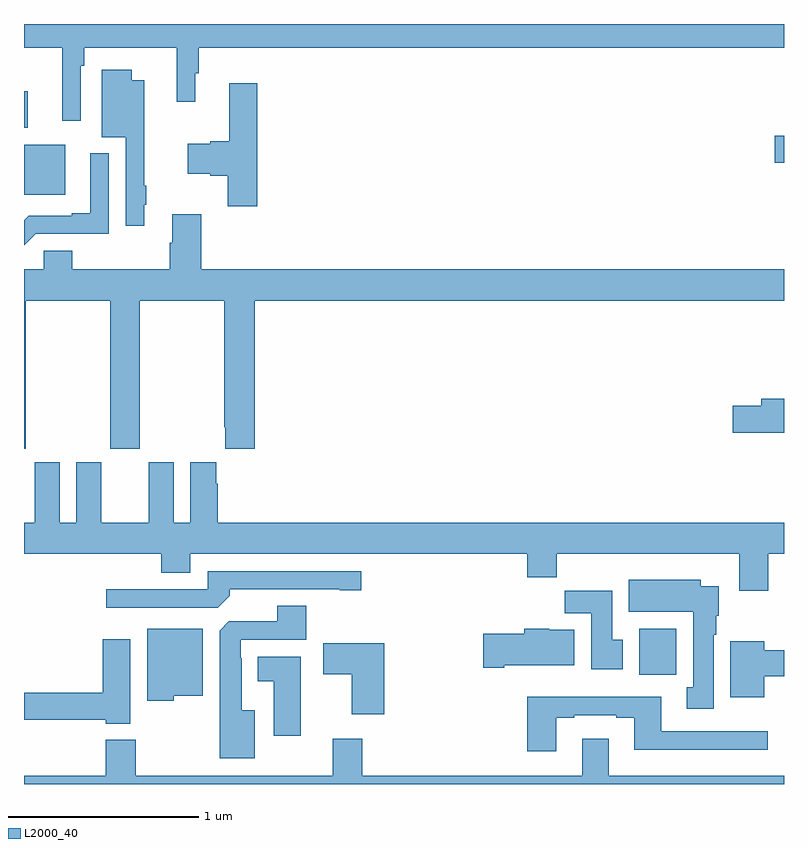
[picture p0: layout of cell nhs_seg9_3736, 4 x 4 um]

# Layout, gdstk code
import gdstk
lib = gdstk.Library(unit=1e-6, precision=1e-09)
def R(c, l, rs):  # rectangles x0, y0, x1, y1
    for r in rs: c.add(gdstk.rectangle(r[:2], r[2:], *l))
def P(c, l, *ps):  # polygons
    for p in ps: c.add(gdstk.Polygon(p, *l))
L2000_40 = (2000, 40)

nhs_seg9_3736 = lib.new_cell('nhs_seg9_3736')
R(nhs_seg9_3736, L2000_40, [(326.237,1237.076,326.434,1237.318), (323,1239.602,323.218,1239.865), (326.952,1239.77,327,1239.912), (323,1239.954,323.021,1240.147)])
P(nhs_seg9_3736, L2000_40, [(323.298,1240.28),(323.318,1240.28),(323.318,1240.376),(323.803,1240.376),(323.803,1240.092),(323.902,1240.092),(323.902,1240.242),(323.921,1240.242),(323.921,1240.376),(327,1240.376),(327,1240.5),(323,1240.5),(323,1240.376),(323.201,1240.376),(323.201,1239.99),(323.298,1239.99)],
  [(323.632,1239.55),(323.644,1239.55),(323.644,1239.65),(323.634,1239.65),(323.634,1239.909),(323.632,1239.909),(323.632,1240.204),(323.566,1240.204),(323.566,1240.258),(323.408,1240.258),(323.408,1239.905),(323.535,1239.905),(323.535,1239.438),(323.632,1239.438)],
  [(324.227,1240.189),(324.08,1240.189),(324.08,1239.884),(323.979,1239.884),(323.979,1239.871),(323.862,1239.871),(323.862,1239.713),(323.979,1239.713),(323.979,1239.701),(324.073,1239.701),(324.073,1239.54),(324.227,1239.54)],
  [(323.061,1239.396),(323.445,1239.396),(323.445,1239.82),(323.348,1239.82),(323.348,1239.505),(323.252,1239.505),(323.252,1239.492),(323.025,1239.492),(323,1239.467),(323,1239.335)],
  [(323.01,1239.044),(323.455,1239.044),(323.455,1238.265),(323.61,1238.265),(323.61,1239.044),(324.055,1239.044),(324.055,1238.377),(324.059,1238.377),(324.059,1238.265),(324.215,1238.265),(324.215,1239.044),(327,1239.044),(327,1239.208),(323.933,1239.208),(323.933,1239.499),(323.78,1239.499),(323.78,1239.35),(323.768,1239.35),(323.768,1239.208),(323.255,1239.208),(323.255,1239.306),(323.103,1239.306),(323.103,1239.208),(323,1239.208),(323,1238.265),(323.01,1238.265)],
  [(327,1238.528),(326.879,1238.528),(326.879,1238.492),(326.73,1238.492),(326.73,1238.35),(327,1238.35)],
  [(326.918,1237.712),(327,1237.712),(327,1237.876),(324.02,1237.876),(324.02,1238.081),(324.013,1238.081),(324.013,1238.194),(323.876,1238.194),(323.876,1237.876),(323.788,1237.876),(323.788,1238.194),(323.657,1238.194),(323.657,1237.876),(323.407,1237.876),(323.407,1238.194),(323.276,1238.194),(323.276,1237.876),(323.188,1237.876),(323.188,1238.194),(323.057,1238.194),(323.057,1237.876),(323,1237.876),(323,1237.712),(323.723,1237.712),(323.723,1237.613),(323.875,1237.613),(323.875,1237.712),(325.649,1237.712),(325.649,1237.588),(325.805,1237.588),(325.805,1237.712),(326.765,1237.712),(326.765,1237.518),(326.918,1237.518)],
  [(324.083,1237.49),(324.083,1237.524),(324.662,1237.524),(324.662,1237.519),(324.775,1237.519),(324.775,1237.62),(323.967,1237.62),(323.967,1237.524),(323.433,1237.524),(323.433,1237.428),(324.021,1237.428)],
  [(326.629,1237.286),(326.644,1237.286),(326.644,1237.386),(326.656,1237.386),(326.656,1237.54),(326.563,1237.54),(326.563,1237.576),(326.183,1237.576),(326.183,1237.406),(326.522,1237.406),(326.522,1237.01),(326.489,1237.01),(326.489,1236.897),(326.629,1236.897)],
  [(326.152,1237.26),(326.095,1237.26),(326.095,1237.518),(325.846,1237.518),(325.846,1237.4),(325.985,1237.4),(325.985,1237.104),(326.152,1237.104)],
  [(324.214,1236.889),(324.145,1236.889),(324.145,1237.163),(324.141,1237.163),(324.141,1237.26),(324.485,1237.26),(324.485,1237.439),(324.332,1237.439),(324.332,1237.356),(324.078,1237.356),(324.029,1237.307),(324.029,1236.635),(324.214,1236.635)],
  [(325.528,1237.124),(325.897,1237.124),(325.897,1237.312),(325.764,1237.312),(325.764,1237.318),(325.634,1237.318),(325.634,1237.29),(325.416,1237.29),(325.416,1237.112),(325.528,1237.112)],
  [(323.787,1236.965),(323.941,1236.965),(323.941,1237.318),(323.648,1237.318),(323.648,1236.938),(323.787,1236.938)],
  [(323.56,1237.261),(323.414,1237.261),(323.414,1236.98),(323,1236.98),(323,1236.838),(323.43,1236.838),(323.43,1236.818),(323.56,1236.818)],
  [(326.896,1237.067),(327,1237.067),(327,1237.204),(326.896,1237.204),(326.896,1237.252),(326.717,1237.252),(326.717,1236.956),(326.896,1236.956)],
  [(324.896,1237.24),(324.576,1237.24),(324.576,1237.078),(324.725,1237.078),(324.725,1236.867),(324.896,1236.867)],
  [(324.457,1237.171),(324.23,1237.171),(324.23,1237.04),(324.314,1237.04),(324.314,1236.753),(324.457,1236.753)],
  [(325.801,1236.849),(325.897,1236.849),(325.897,1236.861),(326.117,1236.861),(326.117,1236.849),(326.213,1236.849),(326.213,1236.68),(326.914,1236.68),(326.914,1236.777),(326.353,1236.777),(326.353,1236.958),(325.649,1236.958),(325.649,1236.672),(325.801,1236.672)],
  [(327,1236.544),(326.077,1236.544),(326.077,1236.739),(325.937,1236.739),(325.937,1236.544),(324.779,1236.544),(324.779,1236.739),(324.626,1236.739),(324.626,1236.544),(323.589,1236.544),(323.589,1236.733),(323.429,1236.733),(323.429,1236.544),(323,1236.544),(323,1236.5),(327,1236.5)])

lib.write_gds('nhs_seg9_3736.gds')
